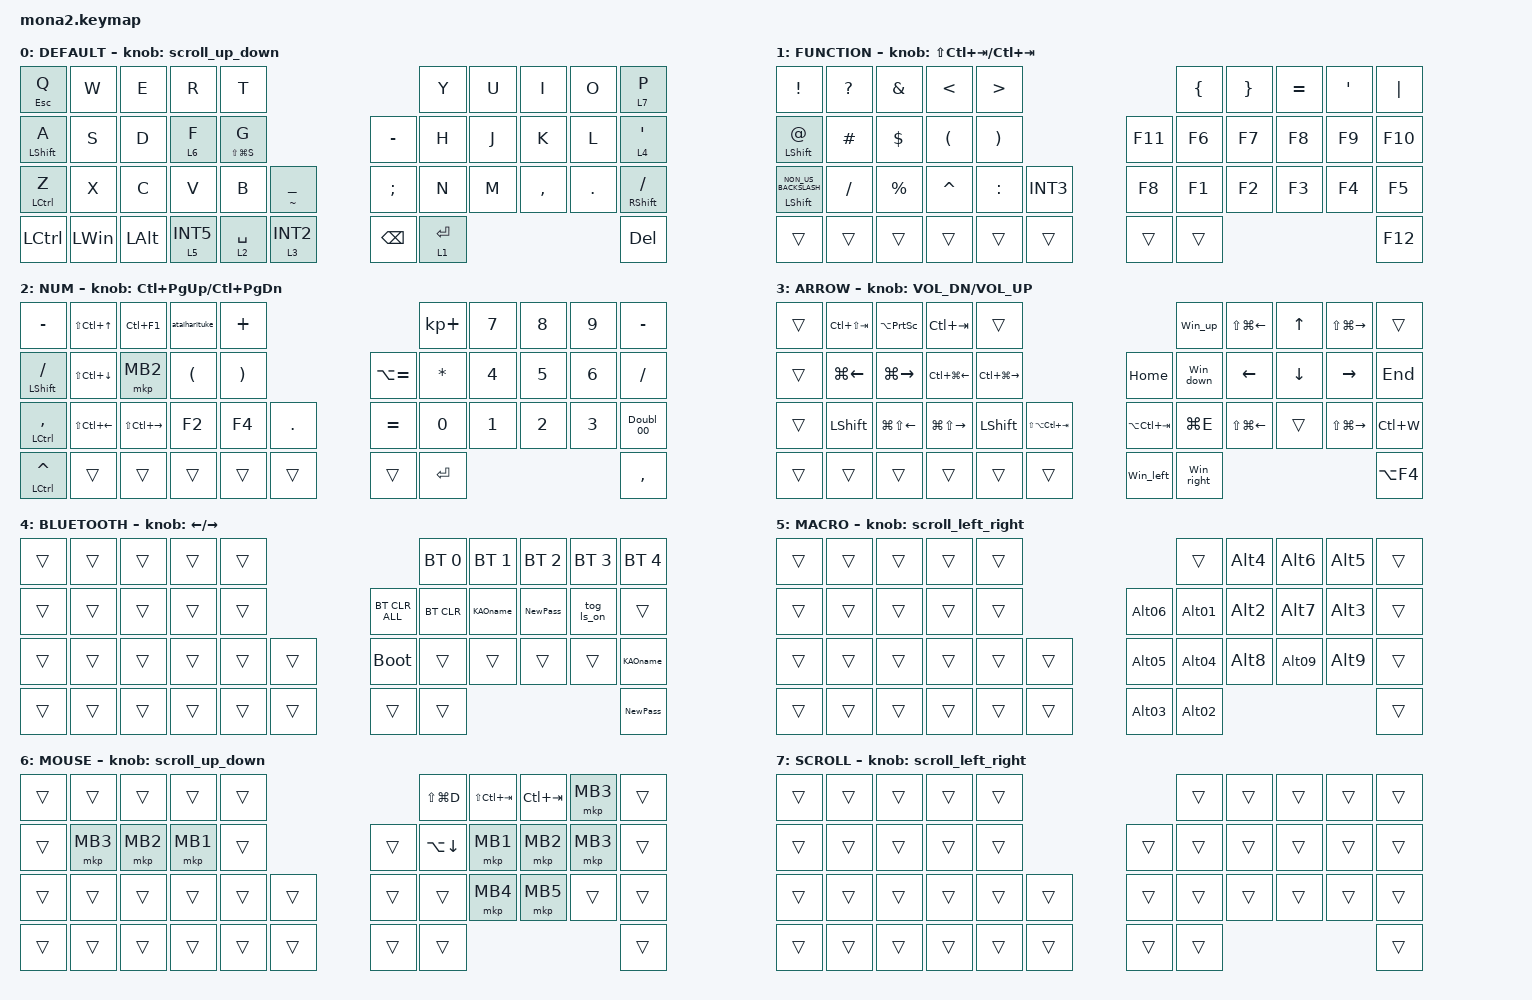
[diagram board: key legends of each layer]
#include <zephyr/dt-bindings/input/input-event-codes.h>
#include <input/processors.dtsi>
#include <input/processors/report_rate_limit.dtsi>
#include <dt-bindings/zmk/input_transform.h>
#include <scroll-snap.dtsi>
#include <behaviors.dtsi>
#include <dt-bindings/zmk/bt.h>
#include <dt-bindings/zmk/keys.h>
#include <dt-bindings/zmk/pointing.h>
#include <layout_shift_kp_override.dtsi>

#define ZMK_POINTING_DEFAULT_SCRL_VAL 1000
#define DEFAULT 0
#define FUNCTION 1
#define NUM 2
#define ARROW 3
#define BLUETOOTH 4
#define MACRO 5
#define MOUSE 6
#define SCROLL 7

&mt {
    tapping-term-ms = <180>;
    quick-tap-ms = <250>;
    flavor = "balanced";
};

&lt {
    tapping-term-ms = <180>;
    quick-tap-ms = <250>;
    flavor = "balanced";
};

&tog_ls { layout-maps = <&layout_shift_map_us_to_jis>; };

&tog_ls_on { layout-maps = <&layout_shift_map_us_to_jis>; };

&tog_ls_off { layout-maps = <&layout_shift_map_us_to_jis>; };


/ {
    combos {
        compatible = "zmk,combos";

        tab {
            bindings = <&kp TAB>;
            key-positions = <11 12>;
        };

        shift_tab {
            bindings = <&kp LS(TAB)>;
            key-positions = <10 11>;
        };

        double_quotation {
            bindings = <&kp DOUBLE_QUOTES>;
            key-positions = <19 20>;
        };

        at_sign {
            bindings = <&kp AT_SIGN>;
            key-positions = <14 13>;
        };

        ESC_sign {
            bindings = <&kp ESC>;
            key-positions = <0 1>;
        };

        ctrlz {
            bindings = <&kp LC(Z)>;
            key-positions = <21 22>;
        };

        AltDown {
            bindings = <&kp LA(DOWN_ARROW)>;
            key-positions = <17 18>;
        };

        Alt09 {
            bindings = <&Alt09>;
            key-positions = <1 2>;
        };

        Alt08 {
            bindings = <&Alt08>;
            key-positions = <2 3>;
        };

        Alt07 {
            bindings = <&Alt07>;
            key-positions = <3 4>;
        };

        new_folder {
            bindings = <&new_folder>;
            key-positions = <25 26>;
        };

        TeamsMute {
            bindings = <&kp LS(LC(M))>;
            key-positions = <28 29>;
        };

        Mute {
            bindings = <&kp C_MUTE>;
            key-positions = <27 28>;
        };

        HENKAN {
            bindings = <&kp INT_HENKAN>;
            key-positions = <25 24>;
        };

        Ctrl+Plus {
            bindings = <&kp LC(KP_PLUS)>;
            key-positions = <19 18>;
        };

        streamdeck {
            bindings = <&kp LA(LC(P))>;
            key-positions = <9 8>;
        };
    };

    macros {
        to_layer_0: to_layer_0 {
            compatible = "zmk,behavior-macro-one-param";
            #binding-cells = <1>;
            bindings = <&to 0 &macro_param_1to1 &kp MACRO_PLACEHOLDER>;
            label = "TO_LAYER_0";
        };

        KAOname: KAOname {
            compatible = "zmk,behavior-macro";
            #binding-cells = <0>;
            bindings = <&kp NUMBER_3 &kp NUMBER_2 &kp NUMBER_5 &kp NUMBER_6 &kp NUMBER_1 &kp NUMBER_1 &kp TAB>;
            label = "KAONAME";
        };

        NewPass: NewPass {
            compatible = "zmk,behavior-macro";
            #binding-cells = <0>;
            bindings =
                <&macro_tap>,
                <&none &kp SPACE>,
                <&macro_wait_time 150>,
                <&kp BACKSPACE &kp EXCLAMATION &kp LS(Y) &kp U &kp R &kp I &kp HASH &kp NUMBER_1 &kp NUMBER_0 &kp NUMBER_0 &kp NUMBER_3 &kp ENTER>,
                <&macro_release>;

            label = "NEWPASS";
            wait-ms = <30>;
            tap-ms = <30>;
        };

        Doubl_00: Doubl_00 {
            compatible = "zmk,behavior-macro";
            #binding-cells = <0>;
            bindings = <&none &kp KP_NUMBER_0 &kp KP_NUMBER_0>;
        };

        Win_right: Win_right {
            compatible = "zmk,behavior-macro";
            #binding-cells = <0>;
            bindings =
                <&none>,
                <&macro_press>,
                <&kp LEFT_WIN>,
                <&macro_tap>,
                <&kp RIGHT>,
                <&macro_release>,
                <&kp LEFT_WIN &kp RIGHT>;
        };

        Win_left: Win_left {
            compatible = "zmk,behavior-macro";
            #binding-cells = <0>;
            bindings =
                <&none>,
                <&macro_press>,
                <&kp LEFT_WIN>,
                <&macro_tap>,
                <&kp LEFT>,
                <&macro_release>,
                <&kp LEFT_WIN &kp LEFT>;
        };

        Printscreen: Printscreen {
            compatible = "zmk,behavior-macro";
            #binding-cells = <0>;
            bindings =
                <&none>,
                <&macro_press>,
                <&kp LEFT_ALT>,
                <&macro_tap>,
                <&kp PRINTSCREEN>,
                <&macro_release>,
                <&kp LEFT_ALT &kp PRINTSCREEN>;
        };

        Win_up: Win_up {
            compatible = "zmk,behavior-macro";
            #binding-cells = <0>;
            bindings =
                <&none>,
                <&macro_press>,
                <&kp LEFT_WIN>,
                <&macro_tap>,
                <&kp UP_ARROW>,
                <&macro_release>,
                <&kp LEFT_WIN &kp UP_ARROW>;
        };

        Win_down: Win_down {
            compatible = "zmk,behavior-macro";
            #binding-cells = <0>;
            bindings =
                <&none>,
                <&macro_press>,
                <&kp LEFT_WIN>,
                <&macro_tap>,
                <&kp DOWN_ARROW>,
                <&macro_release>,
                <&kp LEFT_WIN &kp DOWN_ARROW>;
        };

        Alt1: Alt1 {
            compatible = "zmk,behavior-macro";
            #binding-cells = <0>;
            bindings = <&none &kp LEFT_ALT &kp NUMBER_1>;
        };

        Alt2: Alt2 {
            compatible = "zmk,behavior-macro";
            #binding-cells = <0>;
            bindings = <&none &kp LEFT_ALT &kp NUMBER_2>;
        };

        Alt3: Alt3 {
            compatible = "zmk,behavior-macro";
            #binding-cells = <0>;
            bindings = <&none &kp LEFT_ALT &kp NUMBER_3>;
        };

        Alt4: Alt4 {
            compatible = "zmk,behavior-macro";
            #binding-cells = <0>;
            bindings = <&none &kp LEFT_ALT &kp NUMBER_4>;
        };

        Alt5: Alt5 {
            compatible = "zmk,behavior-macro";
            #binding-cells = <0>;
            bindings = <&none &kp LEFT_ALT &kp NUMBER_5>;
        };

        Alt6: Alt6 {
            compatible = "zmk,behavior-macro";
            #binding-cells = <0>;
            bindings = <&none &kp LEFT_ALT &kp NUMBER_6>;
        };

        Alt7: Alt7 {
            compatible = "zmk,behavior-macro";
            #binding-cells = <0>;
            bindings = <&none &kp LEFT_ALT &kp NUMBER_7>;
        };

        Alt8: Alt8 {
            compatible = "zmk,behavior-macro";
            #binding-cells = <0>;
            bindings = <&none &kp LEFT_ALT &kp NUMBER_8>;
        };

        Alt9: Alt9 {
            compatible = "zmk,behavior-macro";
            #binding-cells = <0>;
            bindings = <&none &kp LEFT_ALT &kp NUMBER_9>;
        };

        Alt00: Alt00 {
            compatible = "zmk,behavior-macro";
            #binding-cells = <0>;
            bindings = <&none &kp LEFT_ALT &kp NUMBER_0 &kp NUMBER_0>;
        };

        Alt09: Alt09 {
            compatible = "zmk,behavior-macro";
            #binding-cells = <0>;
            bindings = <&none &kp LEFT_ALT &kp NUMBER_0 &kp NUMBER_9>;
        };

        Alt08: Alt08 {
            compatible = "zmk,behavior-macro";
            #binding-cells = <0>;
            bindings = <&none &kp LEFT_ALT &kp NUMBER_0 &kp NUMBER_8>;
        };

        Alt07: Alt07 {
            compatible = "zmk,behavior-macro";
            #binding-cells = <0>;
            bindings = <&none &kp LEFT_ALT &kp NUMBER_0 &kp NUMBER_7>;
        };

        Alt06: Alt06 {
            compatible = "zmk,behavior-macro";
            #binding-cells = <0>;
            bindings = <&none &kp LEFT_ALT &kp NUMBER_0 &kp NUMBER_6>;
        };

        Alt05: Alt05 {
            compatible = "zmk,behavior-macro";
            #binding-cells = <0>;
            bindings = <&none &kp LEFT_ALT &kp NUMBER_0 &kp NUMBER_5>;
        };

        Alt04: Alt04 {
            compatible = "zmk,behavior-macro";
            #binding-cells = <0>;
            bindings = <&none &kp LEFT_ALT &kp NUMBER_0 &kp NUMBER_4>;
        };

        Alt03: Alt03 {
            compatible = "zmk,behavior-macro";
            #binding-cells = <0>;
            bindings = <&none &kp LEFT_ALT &kp NUMBER_0 &kp NUMBER_3>;
        };

        Alt02: Alt02 {
            compatible = "zmk,behavior-macro";
            #binding-cells = <0>;
            bindings = <&none &kp LEFT_ALT &kp NUMBER_0 &kp NUMBER_2>;
        };

        Alt01: Alt01 {
            compatible = "zmk,behavior-macro";
            #binding-cells = <0>;
            bindings = <&none &kp LEFT_ALT &kp NUMBER_0 &kp NUMBER_1>;
        };

        ataiharituke: ataiharituke {
            compatible = "zmk,behavior-macro";
            #binding-cells = <0>;
            bindings = <&none &kp LEFT_ALT &kp H &kp V &kp V>;
        };

        shift_ctrl_right: shift_ctrl_right {
            compatible = "zmk,behavior-macro";
            #binding-cells = <0>;
            bindings =
                <&macro_press>,
                <&kp LEFT_SHIFT &kp LCTRL>,
                <&macro_tap>,
                <&kp RIGHT_ARROW>,
                <&macro_release>,
                <&kp LEFT_SHIFT &kp LCTRL>;
        };

        shift_ctrl_left: shift_ctrl_left {
            compatible = "zmk,behavior-macro";
            #binding-cells = <0>;
            bindings =
                <&macro_press>,
                <&kp LEFT_SHIFT &kp LCTRL>,
                <&macro_tap>,
                <&kp LEFT_ARROW>,
                <&macro_release>,
                <&kp LEFT_SHIFT &kp LCTRL>;
        };

        shift_ctrl_up: shift_ctrl_up {
            compatible = "zmk,behavior-macro";
            #binding-cells = <0>;
            bindings =
                <&macro_press>,
                <&kp LEFT_SHIFT &kp LCTRL>,
                <&macro_tap>,
                <&kp UP_ARROW>,
                <&macro_release>,
                <&kp LEFT_SHIFT &kp LCTRL>;
        };

        shift_ctrl_down: shift_ctrl_down {
            compatible = "zmk,behavior-macro";
            #binding-cells = <0>;
            bindings =
                <&macro_press>,
                <&kp LEFT_SHIFT &kp LCTRL>,
                <&macro_tap>,
                <&kp DOWN_ARROW>,
                <&macro_release>,
                <&kp LEFT_SHIFT &kp LCTRL>;
        };

        new_folder: new_folder {
            compatible = "zmk,behavior-macro";
            #binding-cells = <0>;
            bindings =
                <&macro_press>,
                <&kp LCTRL &kp LEFT_SHIFT>,
                <&macro_tap>,
                <&kp N>,
                <&macro_release>,
                <&kp LCTRL &kp LEFT_SHIFT>;
        };

        exit_AML: exit_AML {
            compatible = "zmk,behavior-macro";
            wait-ms = <0>;
            tap-ms = <0>;
            #binding-cells = <0>;
            bindings = <&tog_off 6>;
        };

        kp_exit_AML: kp_exit_AML {
            compatible = "zmk,behavior-macro-one-param";
            wait-ms = <0>;
            tap-ms = <0>;
            #binding-cells = <1>;
            bindings = <&macro_param_1to1 &kp MACRO_PLACEHOLDER &exit_AML>;
        };

        streamdeck: streamdeck {
            compatible = "zmk,behavior-macro";
            #binding-cells = <0>;
            bindings =
                <&macro_press>,
                <&kp LA(LEFT_ALT)>,
                <&macro_tap>,
                <&kp S>,
                <&macro_release>,
                <&kp LEFT_ALT>;
        };

        ctrl_tab: ctrl_tab {
            compatible = "zmk,behavior-macro";
            #binding-cells = <0>;
            bindings =
                <&macro_press>,
                <&kp LCTRL>,
                <&macro_tap>,
                <&kp TAB>,
                <&macro_release>,
                <&kp LCTRL>;
        };

        ctrl_shift_tab: ctrl_shift_tab {
            compatible = "zmk,behavior-macro";
            #binding-cells = <0>;
            bindings =
                <&macro_press>,
                <&kp LCTRL &kp LEFT_SHIFT>,
                <&macro_tap>,
                <&kp TAB>,
                <&macro_release>,
                <&kp LCTRL &kp LEFT_SHIFT>;
        };
    };

    behaviors {
        lt_to_layer_0: lt_to_layer_0 {
            compatible = "zmk,behavior-hold-tap";
            label = "LAYER_TAP_TO_0";
            bindings = <&mo>, <&to_layer_0>;

            #binding-cells = <2>;
            tapping-term-ms = <200>;
        };

        scroll_up_down: mouse_wheel_up_down {
            compatible = "zmk,behavior-sensor-rotate";
            #sensor-binding-cells = <0>;
            bindings = <&msc SCRL_UP>, <&msc SCRL_DOWN>;

            tap-ms = <20>;
        };

        scroll_left_right: mouse_wheel_right_left {
            compatible = "zmk,behavior-sensor-rotate";
            #sensor-binding-cells = <0>;
            bindings = <&msc SCRL_LEFT>, <&msc SCRL_RIGHT>;

            tap-ms = <20>;
        };

        tog_off: toggle_layer_off {
            compatible = "zmk,behavior-toggle-layer";
            #binding-cells = <1>;
            display-name = "Toggle Layer Off";
            toggle-mode = "off";
        };

        mt_exit_AML_on_tap: mt_exit_AML_on_tap {
            compatible = "zmk,behavior-hold-tap";
            label = "MT_exit_AML_ON_TAP";
            bindings = <&kp>, <&kp_exit_AML>;

            #binding-cells = <2>;
            tapping-term-ms = <200>;
            flavor = "balanced";
            quick-tap-ms = <200>;
        };
    };

    keymap {
        compatible = "zmk,keymap";

        DEFAULT {
            bindings = <
&mt ESC Q           &kp W         &kp E         &kp R                  &kp T                                                           &kp Y                   &kp U  &kp I      &kp O    &lt 7 P
&mt LEFT_SHIFT A    &kp S         &kp D         &lt 6 F                &mt LS(LG(S)) G                                  &kp MINUS      &kp H                   &kp J  &kp K      &kp L    &lt 4 SQT
&mt LCTRL Z  &kp X         &kp C         &kp V                  &kp B                   &mt TILDE UNDERSCORE     &kp SEMI       &kp N                   &kp M  &kp COMMA  &kp DOT  &mt RIGHT_SHIFT SLASH
&kp LCTRL           &kp LEFT_WIN  &kp LEFT_ALT  &lt_to_layer_0 5 INT5  &lt_to_layer_0 2 SPACE  &lt_to_layer_0 3 INT2    &kp BACKSPACE  &lt_to_layer_0 1 ENTER                             &kp DEL
            >;

            sensor-bindings = <&scroll_up_down>;
        };

        FUNCTION {
            bindings = <
&kp EXCLAMATION                  &kp QUESTION  &kp AMPERSAND  &kp LESS_THAN         &kp GREATER_THAN                            &kp LEFT_BRACE  &kp RIGHT_BRACE  &kp EQUAL  &kp SQT  &kp PIPE
&mt LEFT_SHIFT AT_SIGN           &kp HASH      &kp DOLLAR     &kp LEFT_PARENTHESIS  &kp RIGHT_PARENTHESIS              &kp F11  &kp F6          &kp F7           &kp F8     &kp F9   &kp F10
&mt LEFT_SHIFT NON_US_BACKSLASH  &kp SLASH     &kp PERCENT    &kp CARET             &kp COLON              &kp INT3    &kp F8   &kp F1          &kp F2           &kp F3     &kp F4   &kp F5
&trans                           &trans        &trans         &trans                &trans                 &trans      &trans   &trans                                               &kp F12
            >;

            sensor-bindings = <&inc_dec_kp LS(LC(TAB)) LC(TAB)>;
        };

        NUM {
            bindings = <
&kp MINUS               &kp LS(LC(UP_ARROW))    &kp LC(F1)               &ataiharituke         &kp PLUS                                            &kp KP_PLUS   &kp NUMBER_7  &kp NUMBER_8  &kp NUMBER_9  &kp MINUS
&mt LEFT_SHIFT SLASH    &kp LS(LC(DOWN_ARROW))  &mkp MB2                 &kp LEFT_PARENTHESIS  &kp RIGHT_PARENTHESIS                &kp LA(EQUAL)  &kp ASTERISK  &kp NUMBER_4  &kp N5        &kp NUMBER_6  &kp SLASH
&mt LCTRL COMMA         &kp LS(LC(LEFT_ARROW))  &kp LS(LC(RIGHT_ARROW))  &kp F2                &kp F4                 &kp PERIOD    &kp EQUAL      &kp N0        &kp NUMBER_1  &kp NUMBER_2  &kp NUMBER_3  &Doubl_00
&mt LCTRL CARET         &trans                  &trans                   &trans                &trans                 &trans        &trans         &kp ENTER                                               &kp COMMA
            >;

            sensor-bindings = <&inc_dec_kp LC(PAGE_UP) LC(PAGE_DOWN)>;
        };

        ARROW {
            bindings = <
&trans  &kp LC(LS(TAB))     &kp LA(PRINTSCREEN)     &kp LC(TAB)              &trans                                                           &Win_up     &kp LS(LG(LEFT_ARROW))  &kp UP_ARROW    &kp LS(LG(RIGHT_ARROW))  &trans
&trans  &kp LG(LEFT_ARROW)  &kp LG(RIGHT_ARROW)     &kp LC(LG(LEFT_ARROW))   &kp LC(LG(RIGHT_ARROW))                         &kp HOME         &Win_down   &kp LEFT_ARROW          &kp DOWN_ARROW  &kp RIGHT_ARROW          &kp END
&trans  &kp LEFT_SHIFT      &kp LG(LS(LEFT_ARROW))  &kp LG(LS(RIGHT_ARROW))  &kp LEFT_SHIFT           &kp LS(LA(LC(TAB)))    &kp LA(LC(TAB))  &kp LG(E)   &kp LS(LG(LEFT_ARROW))  &trans          &kp LS(LG(RIGHT_ARROW))  &kp LC(W)
&trans  &trans              &trans                  &trans                   &trans                   &trans                 &Win_left        &Win_right                                                                   &kp LA(F4)
            >;

            sensor-bindings = <&inc_dec_kp C_VOL_DN C_VOL_UP>;
        };

        BLUETOOTH {
            bindings = <
&trans  &trans  &trans  &trans  &trans                            &bt BT_SEL 0  &bt BT_SEL 1  &bt BT_SEL 2  &bt BT_SEL 3  &bt BT_SEL 4
&trans  &trans  &trans  &trans  &trans            &bt BT_CLR_ALL  &bt BT_CLR    &KAOname      &NewPass      &tog_ls_on    &trans
&trans  &trans  &trans  &trans  &trans  &trans    &bootloader     &trans        &trans        &trans        &trans        &KAOname
&trans  &trans  &trans  &trans  &trans  &trans    &trans          &trans                                                  &NewPass
            >;

            sensor-bindings = <&inc_dec_kp LEFT RIGHT>;
        };

        MACRO {
            bindings = <
&trans  &trans  &trans  &trans  &trans                    &trans  &Alt4  &Alt6   &Alt5  &trans
&trans  &trans  &trans  &trans  &trans            &Alt06  &Alt01  &Alt2  &Alt7   &Alt3  &trans
&trans  &trans  &trans  &trans  &trans  &trans    &Alt05  &Alt04  &Alt8  &Alt09  &Alt9  &trans
&trans  &trans  &trans  &trans  &trans  &trans    &Alt03  &Alt02                        &trans
            >;

            sensor-bindings = <&scroll_left_right>;
        };

        MOUSE {
            bindings = <
&trans  &trans    &trans    &trans    &trans                    &kp LS(LG(D))       &kp LS(LC(TAB))  &kp LC(TAB)  &mkp MB3  &trans
&trans  &mkp MB3  &mkp MB2  &mkp MB1  &trans            &trans  &kp LA(DOWN_ARROW)  &mkp MB1         &mkp MB2     &mkp MB3  &trans
&trans  &trans    &trans    &trans    &trans  &trans    &trans  &trans              &mkp MB4         &mkp MB5     &trans    &trans
&trans  &trans    &trans    &trans    &trans  &trans    &trans  &trans                                                      &trans
            >;

            sensor-bindings = <&scroll_up_down>;
        };

        SCROLL {
            bindings = <
&trans  &trans  &trans  &trans  &trans                    &trans  &trans  &trans  &trans  &trans
&trans  &trans  &trans  &trans  &trans            &trans  &trans  &trans  &trans  &trans  &trans
&trans  &trans  &trans  &trans  &trans  &trans    &trans  &trans  &trans  &trans  &trans  &trans
&trans  &trans  &trans  &trans  &trans  &trans    &trans  &trans                          &trans
            >;

            sensor-bindings = <&scroll_left_right>;
        };
    };
};
